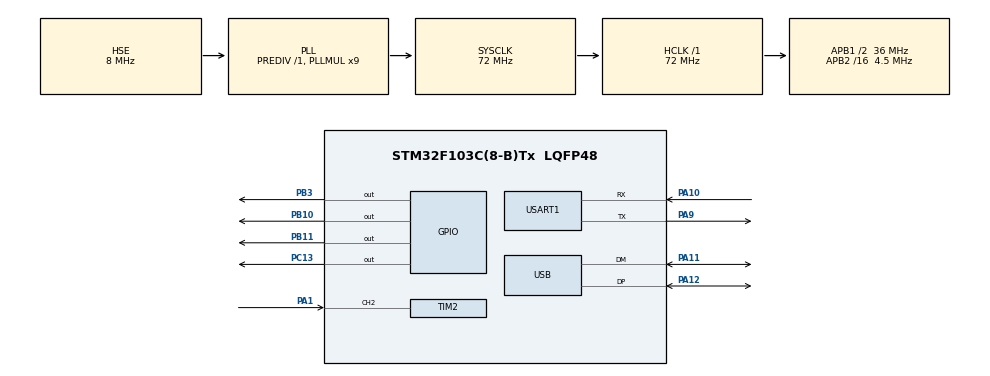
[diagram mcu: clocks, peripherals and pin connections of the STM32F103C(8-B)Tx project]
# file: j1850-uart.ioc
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Mcu.Family=STM32F1
Mcu.Name=STM32F103C(8-B)Tx
Mcu.Package=LQFP48
NVIC.PriorityGroup=NVIC_PRIORITYGROUP_4
NVIC.TIM2_IRQn=true\:0\:0\:false\:false\:true
NVIC.TIM3_IRQn=true\:0\:0\:false\:false\:true
NVIC.USB_HP_CAN1_TX_IRQn=true\:0\:0\:false\:false\:true
NVIC.USB_LP_CAN1_RX0_IRQn=true\:0\:0\:false\:false\:true
PA1.Signal=S_TIM2_CH2
PA10.Mode=Asynchronous
PA10.Signal=USART1_RX
PA11.Mode=Device
PA11.Signal=USB_DM
PA12.Mode=Device
PA12.Signal=USB_DP
PA13.Mode=Serial_Wire
PA13.Signal=SYS_JTMS-SWDIO
PA14.Mode=Serial_Wire
PA14.Signal=SYS_JTCK-SWCLK
PA9.Mode=Asynchronous
PA9.Signal=USART1_TX
PB10.GPIO_Speed=GPIO_SPEED_FREQ_HIGH
PB10.Signal=GPIO_Output
PB11.GPIO_Speed=GPIO_SPEED_FREQ_HIGH
PB11.Signal=GPIO_Output
PB3.GPIO_Speed=GPIO_SPEED_FREQ_HIGH
PB3.Signal=GPIO_Output
PC13-TAMPER-RTC.GPIO_Speed=GPIO_SPEED_FREQ_LOW
PC13-TAMPER-RTC.Signal=GPIO_Output
PC14-OSC32_IN.Mode=LSE-External-Oscillator
PC14-OSC32_IN.Signal=RCC_OSC32_IN
PC15-OSC32_OUT.Mode=LSE-External-Oscillator
PC15-OSC32_OUT.Signal=RCC_OSC32_OUT
PD0-OSC_IN.Mode=HSE-External-Oscillator
PD0-OSC_IN.Signal=RCC_OSC_IN
PD1-OSC_OUT.Mode=HSE-External-Oscillator
PD1-OSC_OUT.Signal=RCC_OSC_OUT
ProjectManager.HeapSize=0x400
ProjectManager.StackSize=0x800
ProjectManager.TargetToolchain=MDK-ARM V5
RCC.AHBFreq_Value=72000000
RCC.APB1CLKDivider=RCC_HCLK_DIV2
RCC.APB1Freq_Value=36000000
RCC.APB1TimFreq_Value=72000000
RCC.APB2CLKDivider=RCC_HCLK_DIV16
RCC.APB2Freq_Value=4500000
RCC.APB2TimFreq_Value=9000000
RCC.EnbaleCSS=true
RCC.HCLKFreq_Value=72000000
RCC.PLLMUL=RCC_PLL_MUL9
RCC.SYSCLKFreq_VALUE=72000000
RCC.SYSCLKSource=RCC_SYSCLKSOURCE_PLLCLK
RCC.USBFreq_Value=48000000
RCC.USBPrescaler=RCC_USBCLKSOURCE_PLL_DIV1_5
RCC.VDD_VALUE=3.3
SH.S_TIM2_CH2.0=TIM2_CH2,TriggerSource_TI2FP2
SH.S_TIM2_CH2.1=TIM2_CH2,Input_Capture2_from_TI2
SH.S_TIM2_CH2.2=TIM2_CH2,Input_Capture1_from_TI2
TIM2.Channel-Input_Capture1_from_TI2=TIM_CHANNEL_1
TIM2.Channel-Input_Capture2_from_TI2=TIM_CHANNEL_2
TIM2.ICPolarity_CH1=TIM_INPUTCHANNELPOLARITY_FALLING
TIM2.Period=0xFFFF
TIM3.Period=86
TIM3.Prescaler=71
USART1.VirtualMode=VM_ASYNC
USB.ep0_mps=DEP0CTL_MPS_64
USB_DEVICE.CLASS_NAME_FS=CDC
USB_DEVICE.USBD_HandleTypeDef=hUsbDeviceFS
USB_DEVICE.VirtualMode=Cdc
USB_DEVICE.VirtualModeFS=Cdc_FS
VP_TIM2_VS_ClockSourceINT.Mode=Internal
VP_TIM2_VS_ControllerModeReset.Mode=Reset Mode
VP_TIM3_VS_ClockSourceINT.Mode=Internal
VP_TIM3_VS_OPM.Mode=OPM_bit
VP_USB_DEVICE_VS_USB_DEVICE_CDC_FS.Mode=CDC_FS
board=j1850-uart

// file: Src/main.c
/**
  ******************************************************************************
  * File Name          : main.c
  * Description        : Main program body
  ******************************************************************************
  * This notice applies to any and all portions of this file
  * that are not between comment pairs USER CODE BEGIN and
  * USER CODE END. Other portions of this file, whether
  * inserted by the user or by software development tools
  * are owned by their respective copyright owners.
  *
  * Copyright (c) 2017 STMicroelectronics International N.V.
  * All rights reserved.
  *
  * Redistribution and use in source and binary forms, with or without
  * modification, are permitted, provided that the following conditions are met:
  *
  * 1. Redistribution of source code must retain the above copyright notice,
  *    this list of conditions and the following disclaimer.
  * 2. Redistributions in binary form must reproduce the above copyright notice,
  *    this list of conditions and the following disclaimer in the documentation
  *    and/or other materials provided with the distribution.
  * 3. Neither the name of STMicroelectronics nor the names of other
  *    contributors to this software may be used to endorse or promote products
  *    derived from this software without specific written permission.
  * 4. This software, including modifications and/or derivative works of this
  *    software, must execute solely and exclusively on microcontroller or
  *    microprocessor devices manufactured by or for STMicroelectronics.
  * 5. Redistribution and use of this software other than as permitted under
  *    this license is void and will automatically terminate your rights under
  *    this license.
  *
  * THIS SOFTWARE IS PROVIDED BY STMICROELECTRONICS AND CONTRIBUTORS "AS IS"
  * AND ANY EXPRESS, IMPLIED OR STATUTORY WARRANTIES, INCLUDING, BUT NOT
  * LIMITED TO, THE IMPLIED WARRANTIES OF MERCHANTABILITY, FITNESS FOR A
  * PARTICULAR PURPOSE AND NON-INFRINGEMENT OF THIRD PARTY INTELLECTUAL PROPERTY
  * RIGHTS ARE DISCLAIMED TO THE FULLEST EXTENT PERMITTED BY LAW. IN NO EVENT
  * SHALL STMICROELECTRONICS OR CONTRIBUTORS BE LIABLE FOR ANY DIRECT, INDIRECT,
  * INCIDENTAL, SPECIAL, EXEMPLARY, OR CONSEQUENTIAL DAMAGES (INCLUDING, BUT NOT
  * LIMITED TO, PROCUREMENT OF SUBSTITUTE GOODS OR SERVICES; LOSS OF USE, DATA,
  * OR PROFITS; OR BUSINESS INTERRUPTION) HOWEVER CAUSED AND ON ANY THEORY OF
  * LIABILITY, WHETHER IN CONTRACT, STRICT LIABILITY, OR TORT (INCLUDING
  * NEGLIGENCE OR OTHERWISE) ARISING IN ANY WAY OUT OF THE USE OF THIS SOFTWARE,
  * EVEN IF ADVISED OF THE POSSIBILITY OF SUCH DAMAGE.
  *
  ******************************************************************************
  */
#include "main.h"
#include "stm32f1xx_hal.h"
#include "tim.h"
#include "usart.h"
#include "usb_device.h"
#include "gpio.h"

/* USER CODE BEGIN Includes */
#include "stdbool.h"
#include "usbd_cdc_if.h"
#include "jnet.h"
#include "cb.h"

/* USER CODE END Includes */

/* USER CODE BEGIN PV */
/* Private variables ---------------------------------------------------------*/
#define DEBUG 0
#define DEBUG_GPIO_PERIPHERAL GPIOE
#define DEBUG_GPIO_PIN GPIO_PIN_6

uint8_t crcTable[256];
cb cbJNetRxBuffer;
cb cbJNetTxBuffer;

cb cbCDCRxBuffer;
bool bCDCRxBufferCplt;

/* USER CODE END PV */

void SystemClock_Config(void);

/* USER CODE BEGIN PFP */
uint8_t CalcCRC(uint8_t * buf, uint8_t len);
void CRCInit(void);
void cbInit(cb *cb, size_t capacity, size_t sz);
void cbFree(cb *cb);
void cbPushBack(cb *cb, const uint8_t * item);
int cbPopFront(cb *cb, uint8_t * item);

/* Private function prototypes -----------------------------------------------*/

/* USER CODE END PFP */

int main(void)
{

  /* MCU Configuration----------------------------------------------------------*/

  /* Reset of all peripherals, Initializes the Flash interface and the Systick. */
  HAL_Init();

  /* Configure the system clock */
  SystemClock_Config();

  /* Initialize all configured peripherals */
  MX_GPIO_Init();
  MX_TIM3_Init();
  MX_USB_DEVICE_Init();
  MX_TIM2_Init();
  MX_USART1_UART_Init();

  /* USER CODE BEGIN 2 */
	CRCInit();

	cbInit(&cbJNetRxBuffer , 16, sizeof(jFrame));
	cbInit(&cbJNetTxBuffer , 16, sizeof(jFrame));
	cbInit(&cbCDCRxBuffer, 256, sizeof(uint8_t));

	struct JFrame jNetRxFrame = {0};
	struct JFrame jNetTxFrame = {0};
	uint8_t * jNetTxFramePtr = (uint8_t *) &jNetTxFrame;

	if(HAL_TIM_IC_Start_IT(&htim2, TIM_CHANNEL_2) != HAL_OK) Error_Handler();
	if(HAL_TIM_IC_Start_IT(&htim2, TIM_CHANNEL_1) != HAL_OK) Error_Handler();
	if(HAL_TIM_Base_Start_IT(&htim3) != HAL_OK) Error_Handler();

  /* USER CODE END 2 */

  /* Infinite loop */
  while (1) {

  /* USER CODE BEGIN 3 */

		/*
		* If something received ftom J_NET
		* Pop frame from CB to CDC
		*/
		if(cbJNetRxBuffer.count) {
			if (cbPopFront(&cbJNetRxBuffer, (uint8_t *) &jNetRxFrame)) {
				CDC_Transmit_FS((uint8_t *) &jNetRxFrame, jNetRxFrame.sz + 1);
			}
		}

		/*
		* Receive frame from CDC and push to JNetBuffer
		*/

		if(bCDCRxBufferCplt && cbCDCRxBuffer.count) {
			memset(&jNetTxFrame, 0x00, sizeof(jNetTxFrame));
			jNetTxFramePtr = (uint8_t *) &jNetTxFrame.jFrameRaw;

			while (cbCDCRxBuffer.count) {
				cbPopFront(&cbCDCRxBuffer, jNetTxFramePtr++);
				if (!cbCDCRxBuffer.count) bCDCRxBufferCplt = false;
			}

			jNetTxFrame.sz = jNetTxFramePtr - ((uint8_t *) &jNetTxFrame);
			*jNetTxFramePtr = CalcCRC((uint8_t *) &jNetTxFrame, jNetTxFrame.sz);
			jNetTxFrame.sz++;

			cbPushBack(&cbJNetTxBuffer, (uint8_t *) &jNetTxFrame);

		} else if (bCDCRxBufferCplt && !cbCDCRxBuffer.count) bCDCRxBufferCplt = false;
  }
  /* USER CODE END 3 */

}

/** System Clock Configuration
*/
void SystemClock_Config(void)
{

  RCC_OscInitTypeDef RCC_OscInitStruct;
  RCC_ClkInitTypeDef RCC_ClkInitStruct;
  RCC_PeriphCLKInitTypeDef PeriphClkInit;

    /**Initializes the CPU, AHB and APB busses clocks
    */
  RCC_OscInitStruct.OscillatorType = RCC_OSCILLATORTYPE_HSE;
  RCC_OscInitStruct.HSEState = RCC_HSE_ON;
  RCC_OscInitStruct.HSEPredivValue = RCC_HSE_PREDIV_DIV1;
  RCC_OscInitStruct.HSIState = RCC_HSI_ON;
  RCC_OscInitStruct.PLL.PLLState = RCC_PLL_ON;
  RCC_OscInitStruct.PLL.PLLSource = RCC_PLLSOURCE_HSE;
  RCC_OscInitStruct.PLL.PLLMUL = RCC_PLL_MUL9;
  if (HAL_RCC_OscConfig(&RCC_OscInitStruct) != HAL_OK)
  {
    _Error_Handler(__FILE__, __LINE__);
  }

    /**Initializes the CPU, AHB and APB busses clocks
    */
  RCC_ClkInitStruct.ClockType = RCC_CLOCKTYPE_HCLK|RCC_CLOCKTYPE_SYSCLK
                              |RCC_CLOCKTYPE_PCLK1|RCC_CLOCKTYPE_PCLK2;
  RCC_ClkInitStruct.SYSCLKSource = RCC_SYSCLKSOURCE_PLLCLK;
  RCC_ClkInitStruct.AHBCLKDivider = RCC_SYSCLK_DIV1;
  RCC_ClkInitStruct.APB1CLKDivider = RCC_HCLK_DIV2;
  RCC_ClkInitStruct.APB2CLKDivider = RCC_HCLK_DIV16;

  if (HAL_RCC_ClockConfig(&RCC_ClkInitStruct, FLASH_LATENCY_2) != HAL_OK)
  {
    _Error_Handler(__FILE__, __LINE__);
  }

  PeriphClkInit.PeriphClockSelection = RCC_PERIPHCLK_USB;
  PeriphClkInit.UsbClockSelection = RCC_USBCLKSOURCE_PLL_DIV1_5;
  if (HAL_RCCEx_PeriphCLKConfig(&PeriphClkInit) != HAL_OK)
  {
    _Error_Handler(__FILE__, __LINE__);
  }

    /**Enables the Clock Security System
    */
  HAL_RCC_EnableCSS();

    /**Configure the Systick interrupt time
    */
  HAL_SYSTICK_Config(HAL_RCC_GetHCLKFreq()/1000);

    /**Configure the Systick
    */
  HAL_SYSTICK_CLKSourceConfig(SYSTICK_CLKSOURCE_HCLK);

  /* SysTick_IRQn interrupt configuration */
  HAL_NVIC_SetPriority(SysTick_IRQn, 0, 0);
}

/* USER CODE BEGIN 4 */
uint8_t CalcCRC(uint8_t * buf, uint8_t len) {
	const uint8_t * ptr = buf;
	uint8_t _crc = 0xFF;

	while(len--) _crc = crcTable[_crc ^ *ptr++];

	return ~_crc;
}

void CRCInit(void) {
	uint8_t _crc;
	for (int i = 0; i < 0x100; i++) {
		_crc = i;

		for (uint8_t bit = 0; bit < 8; bit++) _crc = (_crc & 0x80) ? ((_crc << 1) ^ 0x1D) : (_crc << 1);

		crcTable[i] = _crc;
  }
}

void cbInit(cb *cb, size_t capacity, size_t sz) {
	cb->buffer = malloc(capacity * sz);
	if(cb->buffer == NULL) {
		Error_Handler();
	} else {
		cb->buffer_end = (uint8_t *)cb->buffer + capacity * sz;
		cb->capacity = capacity;
		cb->count = 0;
		cb->sz = sz;
		cb->head = cb->buffer;
		cb->tail = cb->buffer;
	}
}

void cbFree(cb *cb) {
	free(cb->buffer);
}

void cbPushBack(cb *cb, const uint8_t * item) {
	if(cb->count == cb->capacity) {
		Error_Handler();
	} else {
		memcpy(cb->head, item, cb->sz);
		cb->head = (uint8_t *) cb->head + cb->sz;
		if(cb->head == cb->buffer_end) cb->head = cb->buffer;
		cb->count++;
	}
}
int cbPopFront(cb *cb, uint8_t * item) {
	if(cb->count == 0) {
		return 0;
	} else {
		memcpy(item, cb->tail, cb->sz);
		cb->tail = (uint8_t *) cb->tail + cb->sz;
		if(cb->tail == cb->buffer_end) cb->tail = cb->buffer;
		cb->count--;
		return 1;
	}
}

/* USER CODE END 4 */

void _Error_Handler(char * file, int line)
{
  while(1)
  {
  }
}

/************************ (C) COPYRIGHT STMicroelectronics *****END OF FILE****/
